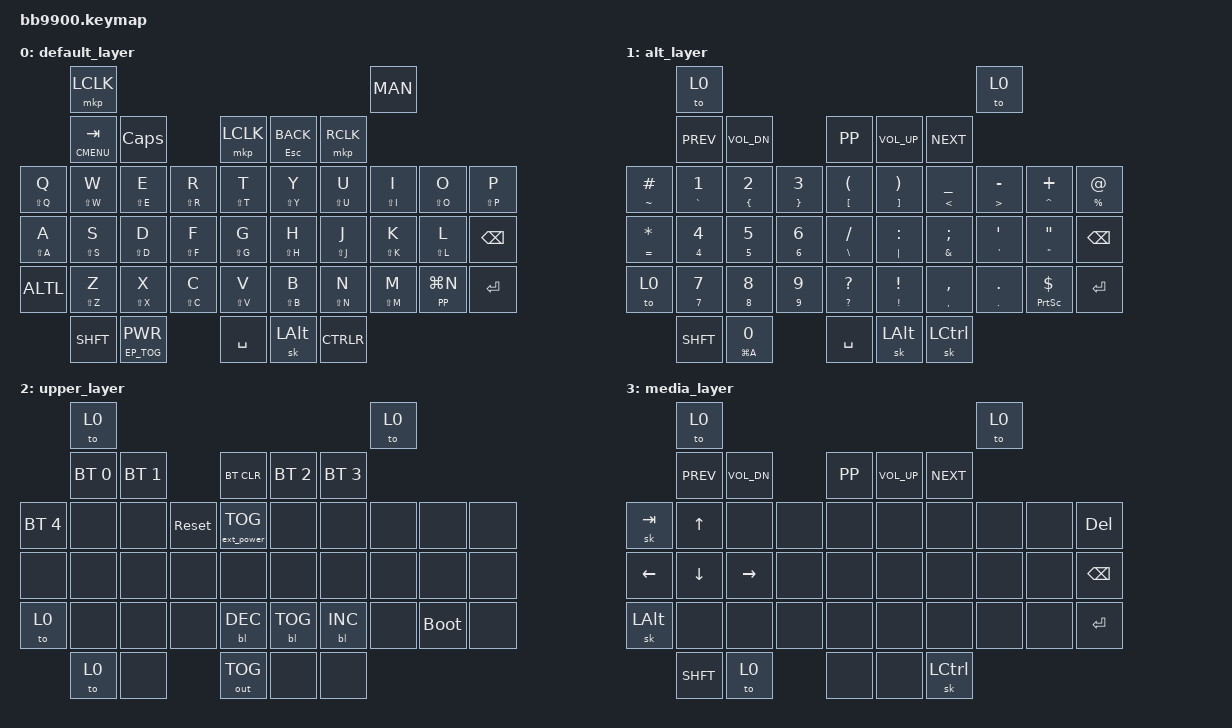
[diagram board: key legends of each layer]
 /*
 * Copyright (c) 2023 ZitaoTech
 * "BlueBerry" Android Layout by Drexel Macintosh
 * Ported to 9900 by zanderp
 * SPDX-License-Identifier: MIT
 */
#include <behaviors.dtsi>
#include <dt-bindings/zmk/keys.h>
#include <dt-bindings/zmk/bt.h>
#include <dt-bindings/zmk/outputs.h>
#include <dt-bindings/zmk/mouse.h>
#include <dt-bindings/zmk/backlight.h>
#include <dt-bindings/zmk/ext_power.h>
 
#define ALT 1
#define UPPER 2
#define MEDIA 3

// Standard Behavior Configuration:
&mt {
    flavor = "tap-preferred";
    tapping-term-ms = <200>;
};
&sk{
    release-after-ms = <2500>;
};
&sl {
    release-after-ms = <2500>;
};

/ {
    behaviors {
        td0: tap_dance_0 {
            compatible = "zmk,behavior-tap-dance";
            #binding-cells = <0>;
            tapping-term-ms = <400>;
            bindings = <&mkp LCLK>, <&bt BT_CLR>;
        };
    };
    behaviors {
        ALTL: tap_dance_1 {
            compatible = "zmk,behavior-tap-dance";
            #binding-cells = <0>;
            tapping-term-ms = <400>;
            bindings = <&sl ALT>, <&to ALT>;
        };
    };

    behaviors {
        CTRLR: tap_dance_5 {
            compatible = "zmk,behavior-tap-dance";
            #binding-cells = <0>;
            tapping-term-ms = <500>;
            bindings = <&sk RCTRL>, <&to MEDIA>;
        };
    };
    behaviors {
        SHFT: tap_dance_2 {
            compatible = "zmk,behavior-tap-dance";
            #binding-cells = <0>;
            tapping-term-ms = <500>;
            bindings = <&sk LSHFT>, <&kp LGUI>;
        };
    };
    behaviors {
        MED: tap_dance_3 {
            compatible = "zmk,behavior-tap-dance";
            #binding-cells = <0>;
            tapping-term-ms = <500>;
            bindings = <&sl MEDIA>, <&to MEDIA>;
        };
    };
    behaviors {
        MAN: tap_dance_4 {
            compatible = "zmk,behavior-tap-dance";
            #binding-cells = <0>;
            tapping-term-ms = <500>;
            bindings = <&to 0>, <&to UPPER>;
        };
    };
    behaviors {
	KPM: behavior_KPM {
            compatible = "zmk,behavior-hold-tap";
            label = "KPM";
            #binding-cells = <2>;
            flavor = "tap-preferred";
            tapping-term-ms = <400>;
            bindings = <&msc>, <&kp>;
        };
    };
    behaviors {
        hm: homerow_mods {
            compatible = "zmk,behavior-hold-tap";
            #binding-cells = <2>;
            tapping-term-ms = <500>;
            bindings = <&out &kp>;
        };
    };
    behaviors {
        hm2: homerow_mods_2 {
            compatible = "zmk,behavior-hold-tap";
            #binding-cells = <2>;
            tapping-term-ms = <500>;
            bindings = <&ext_power &kp>;
        };
    };
  behaviors {
    tap: tap {
      compatible = "zmk,behavior-macro-one-param";
      #binding-cells = <1>;
      // By default, macros will tap each behavior in the bindings list,
      // so this will tap "&kp <param1>".
      bindings = <&macro_param_1to1 &kp MACRO_PLACEHOLDER>;
    };
    
    mtt: mod_tap_tap {
      compatible = "zmk,behavior-hold-tap";
      #binding-cells = <2>;
      flavor = "tap-preferred";
      tapping-term-ms = <200>;
      quick-tap-ms = <125>;
      require-prior-idle-ms = <125>;
      bindings = <&tap>, <&tap>;
    };
  };
    behaviors {
	alt_to: behavior_alt_to {
            compatible = "zmk,behavior-hold-tap";
            label = "alt_to";
            #binding-cells = <2>;
            flavor = "tap-preferred";
            tapping-term-ms = <300>;
            bindings = <&kp>, <&to>;
        };
    };
    keymap {
        compatible = "zmk,keymap";
        default_layer {
            bindings = <

        /*
         *    KEYBOARD LAYOUT - ASCII by KyleBing
         *
                              ---------------------                                                                -------------------------
                             |    Shoulder Key1    |                                                              |      Shoulder Key2      |
                 ---------------------------------------------------------------------------------------------------------------------------------------------------
                |        Call key        |   Blackberry Key    |              Trackpad            |             Back Key           |          Endcall Key           |
                -----------------------------------------------------------------------------------------------------------------------------------------------------
                |     Q      |     W     |     E    |     R    |         T       |       Y        |        U       |       I       |        O        |      P       |
                -----------------------------------------------------------------------------------------------------------------------------------------------------
                |     A      |     S     |     D    |     F    |         G       |       H        |        J       |       K       |        L        |      ←       |
                -----------------------------------------------------------------------------------------------------------------------------------------------------
                 \    alt    |     Z     |     X    |     C    |         V       |       B        |        N       |       M       |        $        |    Enter    /
                   -----------------------------------------------------------------------------------------------------------------------------------------------
                              \      aA        |       0        |                    SPACE                  |          SYM          |         aA    /
                                -------------------------------------------------------------------------------------------------------------------
        */
                 		 &mkp LCLK                                                                                          &MAN

		            &mtt  K_CMENU TAB		 &kp CLCK		      &mkp LCLK			&mtt ESC K_BACK		 &mkp RCLK

    &mtt LS(Q) Q	&mtt LS(W) W      &mtt LS(E) E	&mtt LS(R) R     &mtt LS(T) T	&mtt LS(Y) Y	&mtt LS(U) U	&mtt LS(I) I	&mtt LS(O) O	 &mtt LS(P) P
    &mtt LS(A) A	&mtt LS(S) S      &mtt LS(D) D	&mtt LS(F) F     &mtt LS(G) G	&mtt LS(H) H	&mtt LS(J) J	&mtt LS(K) K	&mtt LS(L) L     &kp BSPC
    &ALTL		   &mtt LS(Z) Z      &mtt LS(X) X	&mtt LS(C) C     &mtt LS(V) V	&mtt LS(B) B	&mtt LS(N) N	&mtt LS(M) M	&mtt K_PP LG(N)  &kp ENTER

    		         &SHFT				 &hm2 EP_TOG K_PWR	      &kp SPACE			&sk LALT		 &CTRLR

            >;
        };


        alt_layer {

            bindings = <        
                		&to  0                                                                            	 &to  0

    	         	&kp K_PREV    			 &kp K_VOL_DN		      &kp K_PP			&kp K_VOL_UP		 &kp K_NEXT

    &mtt TILDE HASH	   &mtt GRAVE N1	&mtt LBRC N2	&mtt RBRC N3	&mtt LBKT LPAR	   &mtt RBKT RPAR	   &mtt LT UNDER	   &mtt GT MINUS	 &mtt CARET PLUS	&mtt PERCENT AT
    &mtt EQUAL STAR     &mtt N4	N4	   &mtt N5	N5	   &mtt N6	N6	   &mtt BSLH SLASH	&mtt PIPE COLON	&mtt AMPS SEMI    &mtt APOS APOS	 &mtt DQT DQT     &kp BSPC
    &to  0      	      &mtt N7 N7	   &mtt N8	N8	   &mtt N9	N9	   &mtt QMARK QMARK  &mtt EXCL EXCL	   &mtt COMMA COMMA  &mtt DOT DOT	 &mtt PSCRN DLLR 	&kp ENTER
	
    		         &SHFT				 &mtt LG(A) N0		      &kp SPACE			&sk LALT		 &sk LCTRL


            >;
        };

        upper_layer {

            bindings = <        
                 &to  0                                                                                       &to  0

    		&bt BT_SEL 0            	 &bt BT_SEL 1                 &bt BT_CLR                &bt BT_SEL 2             &bt BT_SEL 3

    &bt BT_SEL 4       	&none   	&none     	&sys_reset	&ext_power EP_TOG 	&none         	&none	           &none           &none      	   &none
    &none   		&none	  	&none	 	   &none     	&none	          	   &none     	   &none	           &none         	&none      	   &none
    &to  0  		&none    	&none    	&none      	&bl BL_DEC       	   &bl BL_TOG   	&bl BL_INC       &none           &bootloader    &none

    		&to  0               		 &none	               	      &out OUT_TOG              &none                    &none
            >;
        };

        media_layer {

            bindings = <        
		&to  0													&to  0
 
	    &kp K_PREV    			 &kp K_VOL_DN		      &kp K_PP			&kp K_VOL_UP		 &kp K_NEXT  

    &sk TAB		&kp UP     	&none    	&none  	  		&none			&none		&none    	&none	 	 &none		&kp DEL
    &kp LEFT	     	&kp DOWN   	&kp RIGHT      	&none	 		&none		     	&none	      	&none       	&none       	 &none		&kp BSPC
    &sk LALT     	 	&none     	&none     	&none    		&none	     		&none		&none       	&none       	 &none		&kp ENTER
	
    &SHFT			&to  0			&none				&none				&sk LCTRL
            >;
        };
    };
};
